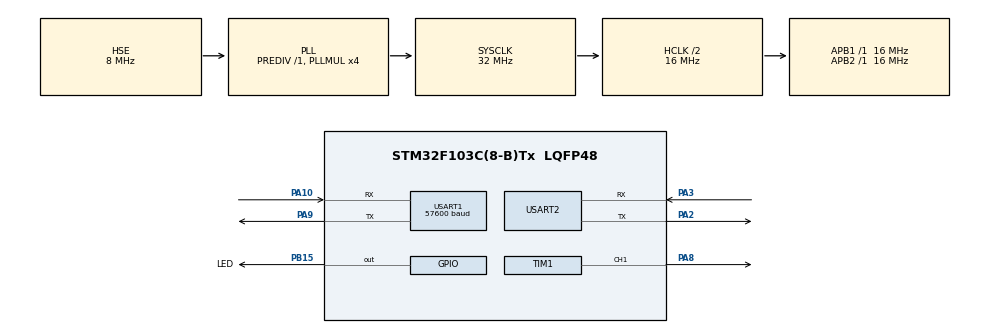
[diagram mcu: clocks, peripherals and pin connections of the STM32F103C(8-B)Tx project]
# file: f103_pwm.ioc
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Mcu.Family=STM32F1
RCC.PLLSourceVirtual=RCC_PLLSOURCE_HSE
PD1-OSC_OUT.Mode=HSE-External-Oscillator
PA10.Mode=Asynchronous
USART1.BaudRate=57600
PD0-OSC_IN.Signal=RCC_OSC_IN
TIM1.Pulse-PWM\ Generation1\ CH1=1
VP_SYS_VS_ND.Mode=No_Debug
PB15.Signal=GPIO_Output
RCC.SYSCLKSource=RCC_SYSCLKSOURCE_PLLCLK
ProjectManager.StackSize=0x400
PD1-OSC_OUT.Signal=RCC_OSC_OUT
PA3.Mode=Asynchronous
PA9.Mode=Asynchronous
TIM1.Prescaler=159
SH.S_TIM1_CH1.0=TIM1_CH1,PWM Generation1 CH1
ProjectManager.TargetToolchain=STM32CubeIDE
RCC.HCLKFreq_Value=16000000
RCC.APB2TimFreq_Value=16000000
PA9.Signal=USART1_TX
RCC.USBFreq_Value=32000000
RCC.AHBFreq_Value=16000000
PD0-OSC_IN.Mode=HSE-External-Oscillator
board=custom
RCC.PLLMUL=RCC_PLL_MUL4
RCC.APB2Freq_Value=16000000
PB15.GPIO_Label=LED
VP_TIM2_VS_ClockSourceINT.Mode=Internal
TIM1.Channel-PWM\ Generation1\ CH1=TIM_CHANNEL_1
NVIC.TIM2_IRQn=true\:0\:0\:false\:false\:true\:true\:true
PA8.Signal=S_TIM1_CH1
RCC.AHBCLKDivider=RCC_SYSCLK_DIV2
TIM2.Period=999
Mcu.Name=STM32F103C(8-B)Tx
VP_TIM1_VS_ClockSourceINT.Mode=Internal
PA2.Signal=USART2_TX
RCC.SYSCLKFreq_VALUE=32000000
Mcu.Package=LQFP48
TIM2.Prescaler=15
USART2.VirtualMode=VM_ASYNC
USART1.VirtualMode=VM_ASYNC
PA10.Signal=USART1_RX
ProjectManager.HeapSize=0x200
NVIC.PriorityGroup=NVIC_PRIORITYGROUP_4
RCC.APB1TimFreq_Value=16000000
PA2.Mode=Asynchronous
TIM1.Period=99
RCC.APB1Freq_Value=16000000
PA3.Signal=USART2_RX

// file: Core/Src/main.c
/* USER CODE BEGIN Header */
/**
  ******************************************************************************
  * @file           : main.c
  * @brief          : Main program body
  ******************************************************************************
  * @attention
  *
  * <h2><center>&copy; Copyright (c) 2021 STMicroelectronics.
  * All rights reserved.</center></h2>
  *
  * This software component is licensed by ST under BSD 3-Clause license,
  * the "License"; You may not use this file except in compliance with the
  * License. You may obtain a copy of the License at:
  *                        opensource.org/licenses/BSD-3-Clause
  *
  ******************************************************************************
  */
/* USER CODE END Header */
#include "main.h"

/* USER CODE BEGIN Includes */
#include "stdio.h"
#include "string.h"
/* USER CODE END Includes */

/* USER CODE BEGIN PD */
#define msg_SIZE 60
#define PERIOD 100 //период импульсов ШИМ
/* USER CODE END PD */

TIM_HandleTypeDef htim1;
TIM_HandleTypeDef htim2;

UART_HandleTypeDef huart1;
UART_HandleTypeDef huart2;

/* USER CODE BEGIN PV */
unsigned int duty_ch1 = 0; // длительность импульсов ШИМ канала 1 таймера1
uint8_t flag = 1;
/* USER CODE END PV */

void SystemClock_Config(void);
static void MX_GPIO_Init(void);
static void MX_USART1_UART_Init(void);
static void MX_TIM1_Init(void);
static void MX_TIM2_Init(void);
static void MX_USART2_UART_Init(void);

/* USER CODE BEGIN 0 */
static char UART_msg_TX[msg_SIZE]; // массив для формирования сообщений для вывода по UART

//прерывание 1 раз в 2 мс
void HAL_TIM_PeriodElapsedCallback(TIM_HandleTypeDef *htim)
{
        if(htim->Instance == TIM2) //check if the interrupt comes from TIM1
        {
        	if (flag)
        	{
        		duty_ch1 += PERIOD/100; // прибавляем длительность импульса  PWM по 1
        		TIM1->CCR1 = duty_ch1;
        		if(duty_ch1 >= PERIOD)
        		{
        			flag = 0;
        			sprintf (UART_msg_TX,"flag=0\r\n");
        			HAL_UART_Transmit(&huart1, (unsigned char*)UART_msg_TX, strlen(UART_msg_TX), 0x1000);
        		}
        	}
        	else
        	{
        		duty_ch1 -= PERIOD/100; // убавляем длительность импульса PWM по 1
        		TIM1->CCR1 = duty_ch1;
        		if(duty_ch1 <= 1)
        		{
        			flag = 1;
        			sprintf (UART_msg_TX,"flag=1\r\n");
        			HAL_UART_Transmit(&huart1, (unsigned char*)UART_msg_TX, strlen(UART_msg_TX), 0x1000);
        		}
        	}
        }

 //       sprintf (UART_msg_TX,"timer2\r\n");
//        HAL_UART_Transmit(&huart1, (unsigned char*)UART_msg_TX, strlen(UART_msg_TX), 0x1000);
 }
/* USER CODE END 0 */

int main(void)
{

  /* MCU Configuration--------------------------------------------------------*/

  /* Reset of all peripherals, Initializes the Flash interface and the Systick. */
  HAL_Init();

  /* Configure the system clock */
  SystemClock_Config();

  /* Initialize all configured peripherals */
  MX_GPIO_Init();
  MX_USART1_UART_Init();
  MX_TIM1_Init();
  MX_TIM2_Init();
  MX_USART2_UART_Init();
  /* USER CODE BEGIN 2 */
  uint8_t count = 1;
  TIM1->CCR1 = PERIOD/4; //Шим частотой 1 кГц
  HAL_TIM_PWM_Start(&htim1, TIM_CHANNEL_1);
//  HAL_TIM_Base_Start_IT(&htim2);
  sprintf (UART_msg_TX,"pwm_start\r\n");
  HAL_UART_Transmit(&huart1, (unsigned char*)UART_msg_TX, strlen(UART_msg_TX), 0x1000);
  HAL_GPIO_WritePin (LED_GPIO_Port, LED_Pin, ENABLE);
  /* USER CODE END 2 */

  /* Infinite loop */
  while (1)
  {

    /* USER CODE BEGIN 3 */
	 HAL_GPIO_TogglePin (LED_GPIO_Port, LED_Pin);
	 switch (count)
	 	 {
	 	 case 1:
	 		TIM1->CCR1 = PERIOD/4;
	 		break;
	 	case 2:
	 		 TIM1->CCR1 = PERIOD/2;
	 		 break;
	 	case 3:
	 		 TIM1->CCR1 = 3*(PERIOD/4);
	 		 break;
	 	default:
	 		break;
	 	 }
	 sprintf (UART_msg_TX,"count = %d\r\n", count);
	 HAL_UART_Transmit(&huart1, (unsigned char*)UART_msg_TX, strlen(UART_msg_TX), 0x1000);
	 count++;
	 if (count > 3)
		 count = 1;
	 HAL_Delay (1000);
  }
  /* USER CODE END 3 */
}

void SystemClock_Config(void)
{
  RCC_OscInitTypeDef RCC_OscInitStruct = {0};
  RCC_ClkInitTypeDef RCC_ClkInitStruct = {0};

  /** Initializes the RCC Oscillators according to the specified parameters
  * in the RCC_OscInitTypeDef structure.
  */
  RCC_OscInitStruct.OscillatorType = RCC_OSCILLATORTYPE_HSE;
  RCC_OscInitStruct.HSEState = RCC_HSE_ON;
  RCC_OscInitStruct.HSEPredivValue = RCC_HSE_PREDIV_DIV1;
  RCC_OscInitStruct.HSIState = RCC_HSI_ON;
  RCC_OscInitStruct.PLL.PLLState = RCC_PLL_ON;
  RCC_OscInitStruct.PLL.PLLSource = RCC_PLLSOURCE_HSE;
  RCC_OscInitStruct.PLL.PLLMUL = RCC_PLL_MUL4;
  if (HAL_RCC_OscConfig(&RCC_OscInitStruct) != HAL_OK)
  {
    Error_Handler();
  }
  /** Initializes the CPU, AHB and APB buses clocks
  */
  RCC_ClkInitStruct.ClockType = RCC_CLOCKTYPE_HCLK|RCC_CLOCKTYPE_SYSCLK
                              |RCC_CLOCKTYPE_PCLK1|RCC_CLOCKTYPE_PCLK2;
  RCC_ClkInitStruct.SYSCLKSource = RCC_SYSCLKSOURCE_PLLCLK;
  RCC_ClkInitStruct.AHBCLKDivider = RCC_SYSCLK_DIV2;
  RCC_ClkInitStruct.APB1CLKDivider = RCC_HCLK_DIV1;
  RCC_ClkInitStruct.APB2CLKDivider = RCC_HCLK_DIV1;

  if (HAL_RCC_ClockConfig(&RCC_ClkInitStruct, FLASH_LATENCY_1) != HAL_OK)
  {
    Error_Handler();
  }
}

static void MX_TIM1_Init(void)
{

  TIM_ClockConfigTypeDef sClockSourceConfig = {0};
  TIM_MasterConfigTypeDef sMasterConfig = {0};
  TIM_OC_InitTypeDef sConfigOC = {0};
  TIM_BreakDeadTimeConfigTypeDef sBreakDeadTimeConfig = {0};

  htim1.Instance = TIM1;
  htim1.Init.Prescaler = 159;
  htim1.Init.CounterMode = TIM_COUNTERMODE_UP;
  htim1.Init.Period = 99;
  htim1.Init.ClockDivision = TIM_CLOCKDIVISION_DIV1;
  htim1.Init.RepetitionCounter = 0;
  htim1.Init.AutoReloadPreload = TIM_AUTORELOAD_PRELOAD_DISABLE;
  if (HAL_TIM_Base_Init(&htim1) != HAL_OK)
  {
    Error_Handler();
  }
  sClockSourceConfig.ClockSource = TIM_CLOCKSOURCE_INTERNAL;
  if (HAL_TIM_ConfigClockSource(&htim1, &sClockSourceConfig) != HAL_OK)
  {
    Error_Handler();
  }
  if (HAL_TIM_PWM_Init(&htim1) != HAL_OK)
  {
    Error_Handler();
  }
  sMasterConfig.MasterOutputTrigger = TIM_TRGO_RESET;
  sMasterConfig.MasterSlaveMode = TIM_MASTERSLAVEMODE_DISABLE;
  if (HAL_TIMEx_MasterConfigSynchronization(&htim1, &sMasterConfig) != HAL_OK)
  {
    Error_Handler();
  }
  sConfigOC.OCMode = TIM_OCMODE_PWM1;
  sConfigOC.Pulse = 1;
  sConfigOC.OCPolarity = TIM_OCPOLARITY_HIGH;
  sConfigOC.OCNPolarity = TIM_OCNPOLARITY_HIGH;
  sConfigOC.OCFastMode = TIM_OCFAST_DISABLE;
  sConfigOC.OCIdleState = TIM_OCIDLESTATE_RESET;
  sConfigOC.OCNIdleState = TIM_OCNIDLESTATE_RESET;
  if (HAL_TIM_PWM_ConfigChannel(&htim1, &sConfigOC, TIM_CHANNEL_1) != HAL_OK)
  {
    Error_Handler();
  }
  sBreakDeadTimeConfig.OffStateRunMode = TIM_OSSR_DISABLE;
  sBreakDeadTimeConfig.OffStateIDLEMode = TIM_OSSI_DISABLE;
  sBreakDeadTimeConfig.LockLevel = TIM_LOCKLEVEL_OFF;
  sBreakDeadTimeConfig.DeadTime = 0;
  sBreakDeadTimeConfig.BreakState = TIM_BREAK_DISABLE;
  sBreakDeadTimeConfig.BreakPolarity = TIM_BREAKPOLARITY_HIGH;
  sBreakDeadTimeConfig.AutomaticOutput = TIM_AUTOMATICOUTPUT_DISABLE;
  if (HAL_TIMEx_ConfigBreakDeadTime(&htim1, &sBreakDeadTimeConfig) != HAL_OK)
  {
    Error_Handler();
  }
  HAL_TIM_MspPostInit(&htim1);

}

static void MX_TIM2_Init(void)
{

  TIM_ClockConfigTypeDef sClockSourceConfig = {0};
  TIM_MasterConfigTypeDef sMasterConfig = {0};

  htim2.Instance = TIM2;
  htim2.Init.Prescaler = 15;
  htim2.Init.CounterMode = TIM_COUNTERMODE_UP;
  htim2.Init.Period = 999;
  htim2.Init.ClockDivision = TIM_CLOCKDIVISION_DIV1;
  htim2.Init.AutoReloadPreload = TIM_AUTORELOAD_PRELOAD_DISABLE;
  if (HAL_TIM_Base_Init(&htim2) != HAL_OK)
  {
    Error_Handler();
  }
  sClockSourceConfig.ClockSource = TIM_CLOCKSOURCE_INTERNAL;
  if (HAL_TIM_ConfigClockSource(&htim2, &sClockSourceConfig) != HAL_OK)
  {
    Error_Handler();
  }
  sMasterConfig.MasterOutputTrigger = TIM_TRGO_RESET;
  sMasterConfig.MasterSlaveMode = TIM_MASTERSLAVEMODE_DISABLE;
  if (HAL_TIMEx_MasterConfigSynchronization(&htim2, &sMasterConfig) != HAL_OK)
  {
    Error_Handler();
  }

}

static void MX_USART1_UART_Init(void)
{

  huart1.Instance = USART1;
  huart1.Init.BaudRate = 57600;
  huart1.Init.WordLength = UART_WORDLENGTH_8B;
  huart1.Init.StopBits = UART_STOPBITS_1;
  huart1.Init.Parity = UART_PARITY_NONE;
  huart1.Init.Mode = UART_MODE_TX_RX;
  huart1.Init.HwFlowCtl = UART_HWCONTROL_NONE;
  huart1.Init.OverSampling = UART_OVERSAMPLING_16;
  if (HAL_UART_Init(&huart1) != HAL_OK)
  {
    Error_Handler();
  }

}

static void MX_USART2_UART_Init(void)
{

  huart2.Instance = USART2;
  huart2.Init.BaudRate = 115200;
  huart2.Init.WordLength = UART_WORDLENGTH_8B;
  huart2.Init.StopBits = UART_STOPBITS_1;
  huart2.Init.Parity = UART_PARITY_NONE;
  huart2.Init.Mode = UART_MODE_TX_RX;
  huart2.Init.HwFlowCtl = UART_HWCONTROL_NONE;
  huart2.Init.OverSampling = UART_OVERSAMPLING_16;
  if (HAL_UART_Init(&huart2) != HAL_OK)
  {
    Error_Handler();
  }

}

static void MX_GPIO_Init(void)
{
  GPIO_InitTypeDef GPIO_InitStruct = {0};

  /* GPIO Ports Clock Enable */
  __HAL_RCC_GPIOD_CLK_ENABLE();
  __HAL_RCC_GPIOA_CLK_ENABLE();
  __HAL_RCC_GPIOB_CLK_ENABLE();

  /*Configure GPIO pin Output Level */
  HAL_GPIO_WritePin(LED_GPIO_Port, LED_Pin, GPIO_PIN_RESET);

  /*Configure GPIO pin : LED_Pin */
  GPIO_InitStruct.Pin = LED_Pin;
  GPIO_InitStruct.Mode = GPIO_MODE_OUTPUT_PP;
  GPIO_InitStruct.Pull = GPIO_NOPULL;
  GPIO_InitStruct.Speed = GPIO_SPEED_FREQ_LOW;
  HAL_GPIO_Init(LED_GPIO_Port, &GPIO_InitStruct);

}

void Error_Handler(void)
{
}

/************************ (C) COPYRIGHT STMicroelectronics *****END OF FILE****/
